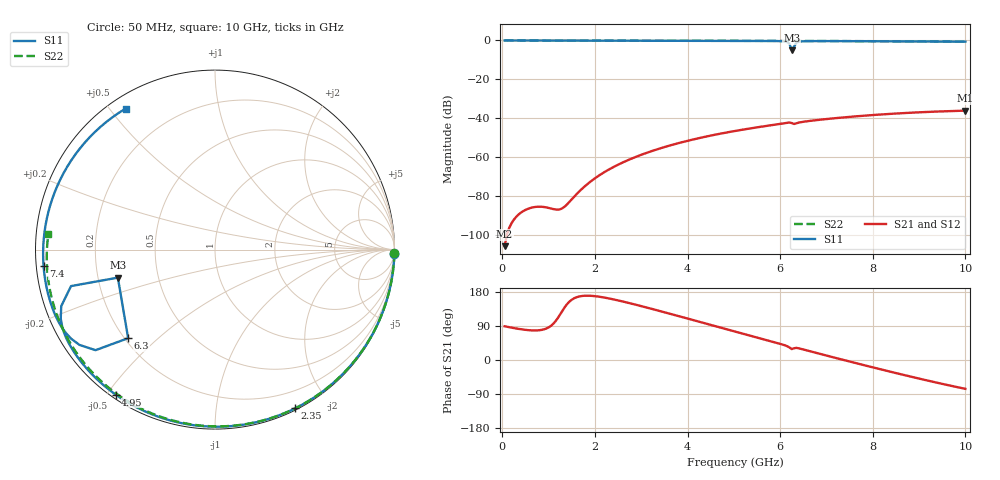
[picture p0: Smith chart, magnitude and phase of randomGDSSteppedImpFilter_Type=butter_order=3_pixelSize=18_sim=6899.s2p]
! freq	dB(S11)	phase(S11)	dB(S12)	phase(S12)
!  dB(S21)	phase(S21)	dB(S22)	phase(S22)
!S-par simulation data
#  GHz  S  DB  R 50
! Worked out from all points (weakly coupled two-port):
!   200 points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, 50 MHz to 10 GHz, reference 50 ohm
!   highest |S21| = -36.15 dB at 10 GHz (marker M1); lowest = -105.9 dB at 50 MHz (marker M2)
!   lowest |S11| = -5.0 dB at 6.25 GHz (marker M3), VSWR 3.58, Z = 14.2 - j6.51 ohm
!   |S11| at or under -10 dB: nowhere
!   |S22| runs from -0.6 to 0.0 dB; largest |S21 - S12| = 0
!   S11 on the Smith chart (normalised r, x): 50 MHz: 0, -81; 2.35 GHz: 0.02, -1.63; 4.95 GHz: 0.01, -0.53; 6.3 GHz: 0.21, -0.40; 7.4 GHz: 0.02, -0.05; 10 GHz: 0.05, +0.55
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0.05  -0.00 -1.4  -105.94 89.0  -105.94 89.0  -0.00 -1.0
0.75  -0.03 -20.8  -85.65 78.1  -85.65 78.1  -0.02 -15.4
1.55  -0.05 -42.4  -80.52 162.8  -80.52 162.8  -0.04 -31.5
1.75  -0.06 -47.7  -75.77 169.3  -75.77 169.3  -0.05 -35.5
2.35  -0.08 -63.2  -65.83 161.3  -65.83 161.3  -0.06 -47.2
2.85  -0.10 -75.6  -60.28 146.9  -60.28 146.9  -0.07 -56.9
3.4  -0.11 -88.9  -55.64 129.3  -55.64 129.3  -0.09 -67.2
4.15  -0.14 -106.4  -50.83 104.4  -50.83 104.4  -0.11 -81.0
4.95  -0.18 -124.4  -46.93 77.7  -46.93 77.7  -0.15 -95.3
5.05  -0.19 -126.7  -46.51 74.4  -46.51 74.4  -0.15 -97.1
5.8  -0.26 -144.5  -43.68 49.5  -43.68 49.5  -0.19 -110.1
6.1  -0.52 -155.9  -42.61 38.8  -42.61 38.8  -0.21 -115.3
6.2  -1.65 -165.8  -42.25 33.2  -42.25 33.2  -0.21 -117.0
6.25  -4.99 -163.9  -42.55 28.8  -42.55 28.8  -0.22 -117.9
6.3  -3.21 -134.4  -43.02 31.0  -43.02 31.0  -0.22 -118.7
6.35  -1.21 -139.9  -42.64 32.0  -42.64 32.0  -0.22 -119.6
6.4  -0.70 -144.9  -42.32 30.9  -42.32 30.9  -0.23 -120.5
6.7  -0.34 -157.5  -41.26 21.3  -41.26 21.3  -0.25 -125.6
7.4  -0.36 -174.4  -39.56 -0.9  -39.56 -0.9  -0.30 -137.6
8.35  -0.44 163.8  -37.85 -30.0  -37.85 -30.0  -0.40 -154.3
9.15  -0.53 144.5  -36.84 -53.3  -36.84 -53.3  -0.49 -168.9
10  -0.63 122.4  -36.15 -76.1  -36.15 -76.1  -0.61 174.6
